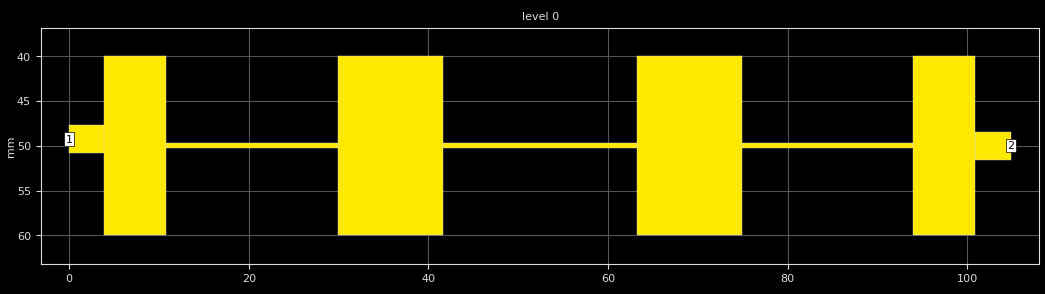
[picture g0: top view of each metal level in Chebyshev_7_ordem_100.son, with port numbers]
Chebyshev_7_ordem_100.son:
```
FTYP SONPROJ 13 ! Sonnet Project File
VER 15.53.lite
HEADER
LIC SL290709.106431 847bebfebdba DESKTOP-1CMJ3DP Arihe
DAT 06/09/2019 17:54:43
BUILT_BY_CREATED xgeom 15.53-Lite 04/13/2019 20:59:13
BUILT_BY_SAVED xgeom 15.53-Lite
MDATE 06/09/2019 17:54:43
HDATE 06/09/2019 17:54:43
END HEADER
DIM
FREQ GHZ
RSVY OHMM
IND NH
LNG MM
ANG DEG
CON /OH
CAP PF
RES OH
END DIM
FREQ
ABS 1.0e-9 3.0 
END FREQ
CONTROL
ABS
OPTIONS  -dj 
SPEED 0
CACHE_ABS 1
TARG_ABS 300
Q_ACC N
END CONTROL
GEO
DRP1 LEFT LINK
POLY 12 1
1
DRP1 RIGHT LINK
POLY 14 1
0
TMET "Lossless" 0 SUP 0 0 0 0
BMET "Lossless" 0 SUP 0 0 0 0
MET "Copper" 1 NOR 58000000 0 0.0347 
BOX 1 104.9 100 2098 400 20 0
      20 1 1 0 0 0 0 "Air"
      1.5306 4.1 1 0.02 0 0 0 "FR-4"
LORGN 0 100 U 
POR1 STD
POLY 12 1
3
1 50 0 0 0 -1.185917142e-009 49.25 
POR1 STD
POLY 14 1
1
2 50 0 0 0 104.9 50 
NUM 9
0 5 0 N 12 1 1 100 100 0 0 0 Y
-1.185917142e-009 47.7
3.999999998 47.7
3.999999998 50.8
-1.185917142e-009 50.8
-1.185917142e-009 47.7
END
0 5 0 N 14 1 1 100 100 0 0 0 Y
100.9 48.45
104.9 48.45
104.9 51.55
100.9 51.55
100.9 48.45
END
0 5 0 N 16 1 1 100 100 0 0 0 Y
3.899998018 40
10.79999802 40
10.79999802 60
3.899998018 60
3.899998018 40
END
0 5 0 N 17 1 1 100 100 0 0 0 Y
93.99999802 40
100.899998 40
100.899998 60
93.99999802 60
93.99999802 40
END
0 5 0 N 18 1 1 100 100 0 0 0 Y
29.89999802 40
41.59999802 40
41.59999802 60
29.89999802 60
29.89999802 40
END
0 5 0 N 19 1 1 100 100 0 0 0 Y
63.19999802 40
74.89999802 40
74.89999802 60
63.19999802 60
63.19999802 40
END
0 5 0 N 20 1 1 100 100 0 0 0 Y
10.79999802 49.75
29.89999802 49.75
29.89999802 50.25
10.79999802 50.25
10.79999802 49.75
END
0 5 0 N 21 1 1 100 100 0 0 0 Y
74.89999802 49.75
93.99999802 49.75
93.99999802 50.25
74.89999802 50.25
74.89999802 49.75
END
0 5 0 N 22 1 1 100 100 0 0 0 Y
41.59999802 49.75
63.19999802 49.75
63.19999802 50.25
41.59999802 50.25
41.59999802 49.75
END
END GEO
OPT
MAX 100
VARS
END
END OPT
VARSWP
END VARSWP
QSG
IMPORT NO
EXTRA_METAL NO
UNITS YES
ALIGN NO
REF NO
VIEW_RES NO
METALS YES
USED NO
END QSG
```
